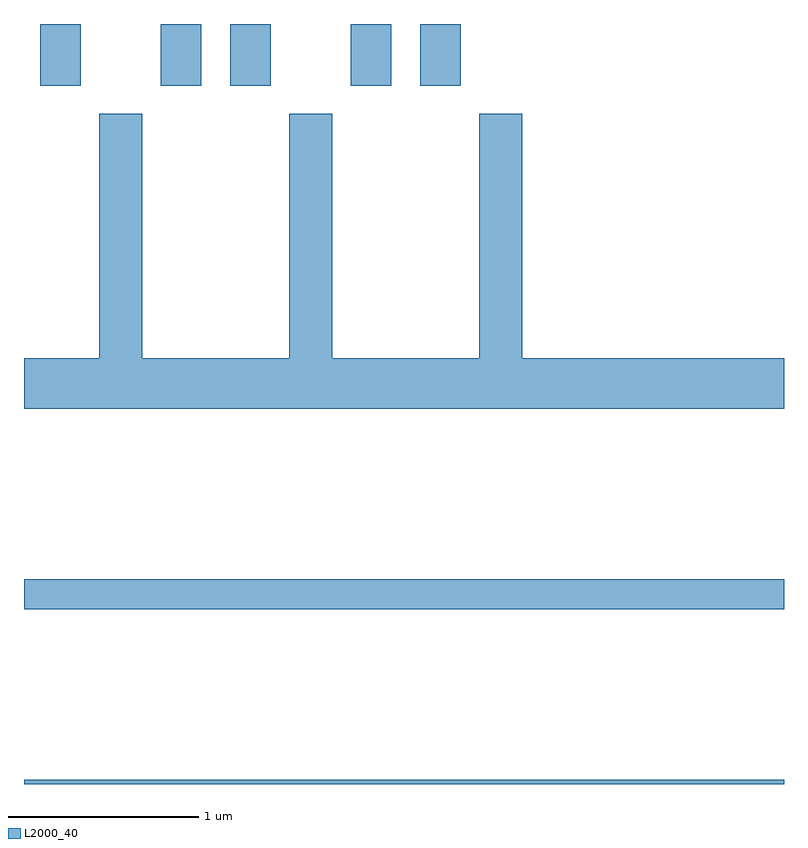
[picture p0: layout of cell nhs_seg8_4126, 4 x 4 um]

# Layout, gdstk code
import gdstk
lib = gdstk.Library(unit=1e-6, precision=1e-09)
def R(c, l, rs):  # rectangles x0, y0, x1, y1
    for r in rs: c.add(gdstk.rectangle(r[:2], r[2:], *l))
def P(c, l, *ps):  # polygons
    for p in ps: c.add(gdstk.Polygon(p, *l))
L2000_40 = (2000, 40)

nhs_seg8_4126 = lib.new_cell('nhs_seg8_4126')
R(nhs_seg8_4126, L2000_40, [(307.611,1934.342,311.611,1934.364), (307.611,1935.261,311.611,1935.419), (307.696,1938.016,307.909,1938.342), (308.331,1938.016,308.544,1938.342), (308.696,1938.016,308.909,1938.342), (309.331,1938.016,309.544,1938.342), (309.696,1938.016,309.909,1938.342)])
P(nhs_seg8_4126, L2000_40, [(311.611,1936.584),(310.234,1936.584),(310.234,1937.869),(310.006,1937.869),(310.006,1936.584),(309.234,1936.584),(309.234,1937.869),(309.006,1937.869),(309.006,1936.584),(308.234,1936.584),(308.234,1937.869),(308.006,1937.869),(308.006,1936.584),(307.611,1936.584),(307.611,1936.316),(311.611,1936.316)])

lib.write_gds('nhs_seg8_4126.gds')
